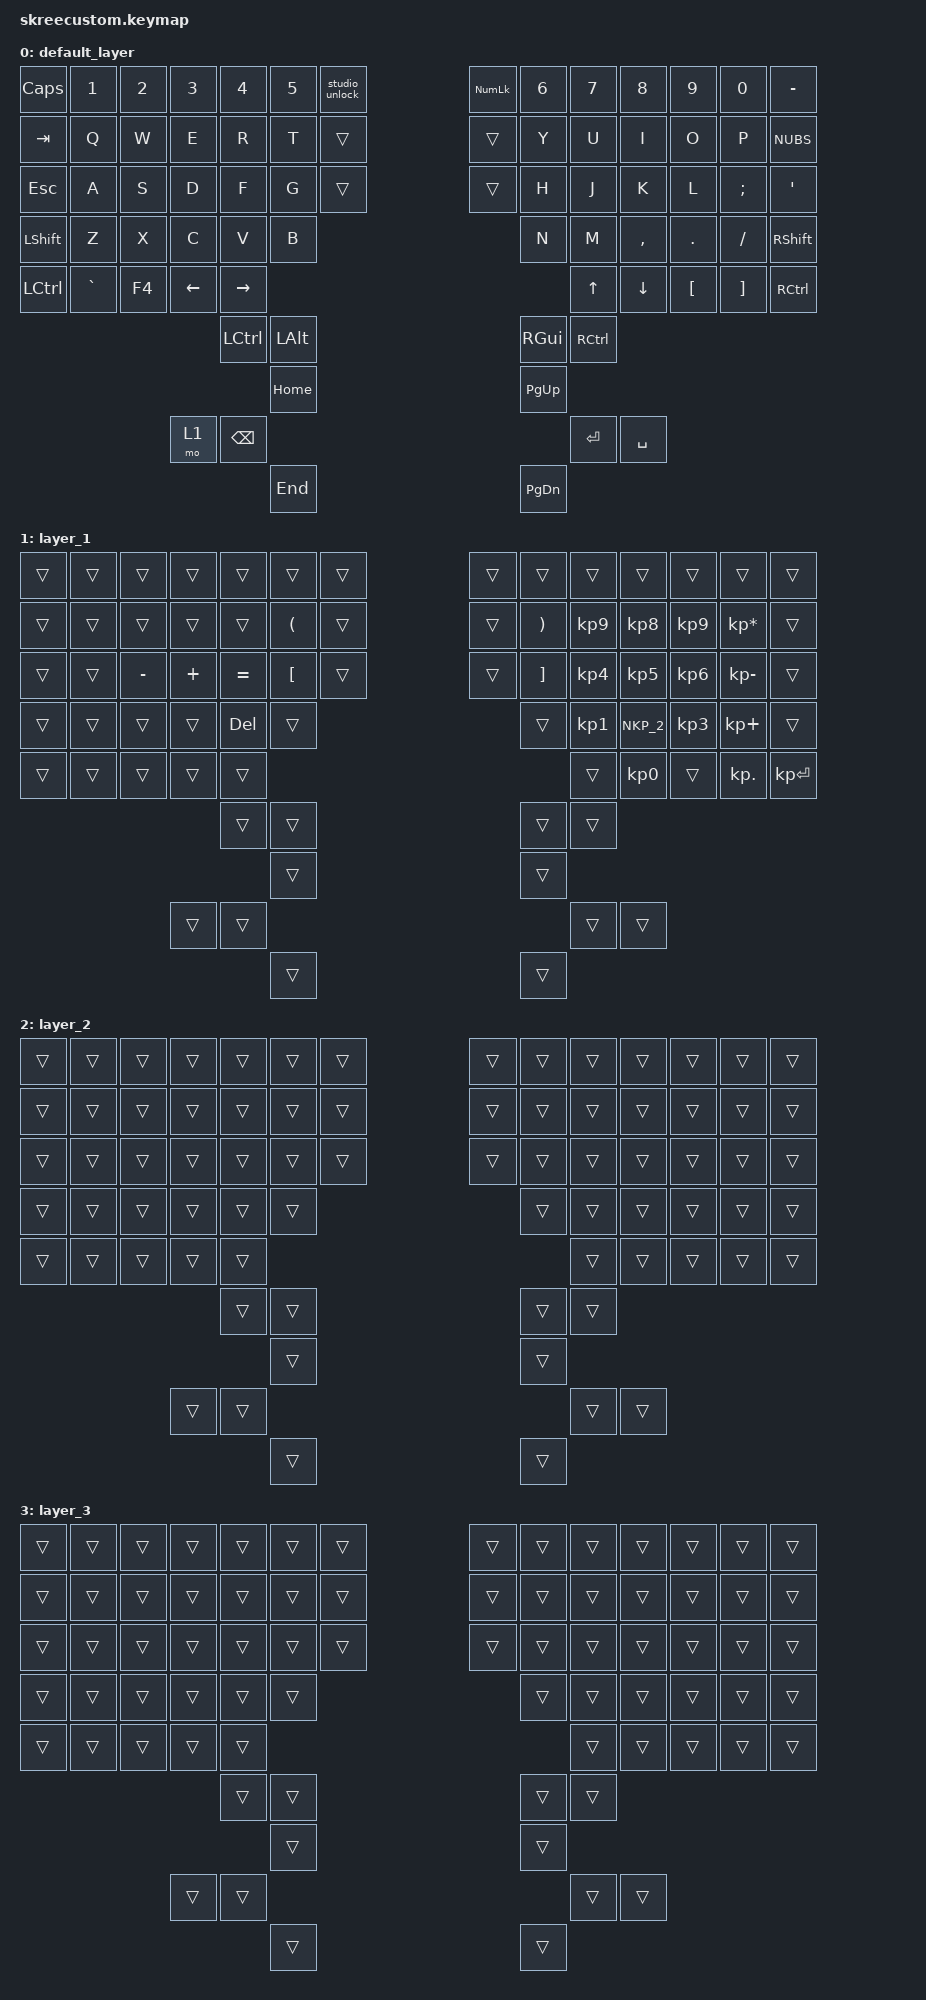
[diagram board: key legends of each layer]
/*
 * Copyright (c) 2020 The ZMK Contributors
 *
 * SPDX-License-Identifier: MIT
 */
//#include <behaviors/mouse_keys.dtsi>

#include <input/processors.dtsi>
#include <dt-bindings/zmk/input_transform.h>
#include <behaviors.dtsi>
#include <dt-bindings/zmk/keys.h>
#include <dt-bindings/zmk/pointing.h>

/ {
    keymap {
        compatible = "zmk,keymap";

        default_layer {
            bindings = <
&kp CAPS    &kp N1     &kp N2    &kp N3     &kp N4     &kp N5    &kp studio_unlock             &kp KP_NUM    &kp N6       &kp N7     &kp N8     &kp N9    &kp N0    &kp MINUS
&kp TAB     &kp Q      &kp W     &kp E      &kp R      &kp T     &trans                        &trans        &kp Y        &kp U      &kp I      &kp O     &kp P     &kp NUBS
&kp ESC     &kp A      &kp S     &kp D      &kp F      &kp G     &trans                        &trans        &kp H        &kp J      &kp K      &kp L     &kp SEMI  &kp SQT
&kp LSHFT   &kp Z      &kp X     &kp C      &kp V      &kp B                                                 &kp N        &kp M      &kp COMMA  &kp DOT   &kp FSLH  &kp RSHFT
&kp LCTRL   &kp GRAVE  &kp F4    &kp LEFT   &kp RIGHT                                                                     &kp UP     &kp DOWN   &kp LBKT  &kp RBKT  &kp RCTRL

                                            &kp LCTRL  &kp LALT                                              &kp RGUI     &kp RCTRL  
                                                       &kp HOME                                              &kp PG_UP
                                 &mo 1      &kp BSPC                                                                      &kp ENTER  &kp SPACE
                                                       &kp END                                               &kp PG_DN
            >;
        };

        layer_1 {
            bindings = <
&trans  &trans  &trans      &trans      &trans      &trans      &trans            &trans  &trans    &trans     &trans     &trans      &trans           &trans
&trans  &trans  &trans      &trans      &trans      &kp LPAR    &trans            &trans  &kp RPAR  &kp KP_N9  &kp KP_N8  &kp KP_N9   &kp KP_MULTIPLY  &trans
&trans  &trans  &kp MINUS   &kp PLUS    &kp EQUAL   &kp LBKT    &trans            &trans  &kp RBKT  &kp KP_N4  &kp KP_N5  &kp KP_N6   &kp KP_MINUS     &trans
&trans  &trans  &trans      &trans      &kp DEL     &trans                                &trans    &kp KP_N1  &kp NKP_2  &kp KP_N3   &kp KP_PLUS      &trans
&trans  &trans  &trans      &trans      &trans                                            &trans    &kp KP_N0  &trans     &kp KP_DOT  &kp KP_ENTER

                                        &trans      &trans                                &trans    &trans  
                                                    &trans                                &trans
                            &trans      &trans                                                      &trans     &trans
                                                    &trans                                &trans
            >;
        };

        layer_2 {
            bindings = <
&trans  &trans  &trans  &trans  &trans  &trans  &trans            &trans  &trans  &trans  &trans  &trans  &trans  &trans
&trans  &trans  &trans  &trans  &trans  &trans  &trans            &trans  &trans  &trans  &trans  &trans  &trans  &trans
&trans  &trans  &trans  &trans  &trans  &trans  &trans            &trans  &trans  &trans  &trans  &trans  &trans  &trans
&trans  &trans  &trans  &trans  &trans  &trans                            &trans  &trans  &trans  &trans  &trans  &trans
&trans  &trans  &trans  &trans  &trans                                    &trans  &trans  &trans  &trans  &trans

                                &trans  &trans                            &trans  &trans  
                                        &trans                            &trans
                        &trans  &trans                                            &trans  &trans
                                        &trans                            &trans
            >;
        };

        layer_3 {
            bindings = <
&trans  &trans  &trans  &trans  &trans  &trans  &trans            &trans  &trans  &trans  &trans  &trans  &trans  &trans
&trans  &trans  &trans  &trans  &trans  &trans  &trans            &trans  &trans  &trans  &trans  &trans  &trans  &trans
&trans  &trans  &trans  &trans  &trans  &trans  &trans            &trans  &trans  &trans  &trans  &trans  &trans  &trans
&trans  &trans  &trans  &trans  &trans  &trans                            &trans  &trans  &trans  &trans  &trans  &trans
&trans  &trans  &trans  &trans  &trans                                    &trans  &trans  &trans  &trans  &trans

                                &trans  &trans                            &trans  &trans  
                                        &trans                            &trans
                        &trans  &trans                                            &trans  &trans
                                        &trans                            &trans
            >;
        };
    };
};

// //right hand trackball overrides
// &trackball_peripheral_listener {
//     input-processors =
//         <&zip_xy_transform INPUT_TRANSFORM_XY_SWAP>,//this gets it to the default installation orientation
//         <&zip_temp_layer 3 500>;//activate layer 3 within 500ms of the trackball moving
// };
// //left hand trackball overrides
// &trackball_central_listener {
//     input-processors = 
//         <&zip_xy_transform INPUT_TRANSFORM_XY_SWAP>,//this gets it to the default installation orientation
//         <&zip_xy_scaler 1 3>,//multiply sensitivity by 1, divide by 3 (make it slower for scrolling)
//         <&zip_xy_to_scroll_mapper>,//make this trackball output scrolling events by default instead of cursor movement
//         <&zip_scroll_transform INPUT_TRANSFORM_Y_INVERT>;//invert vertical scrolling so that the view moves in the same direction as the top of the trackball.
// };
